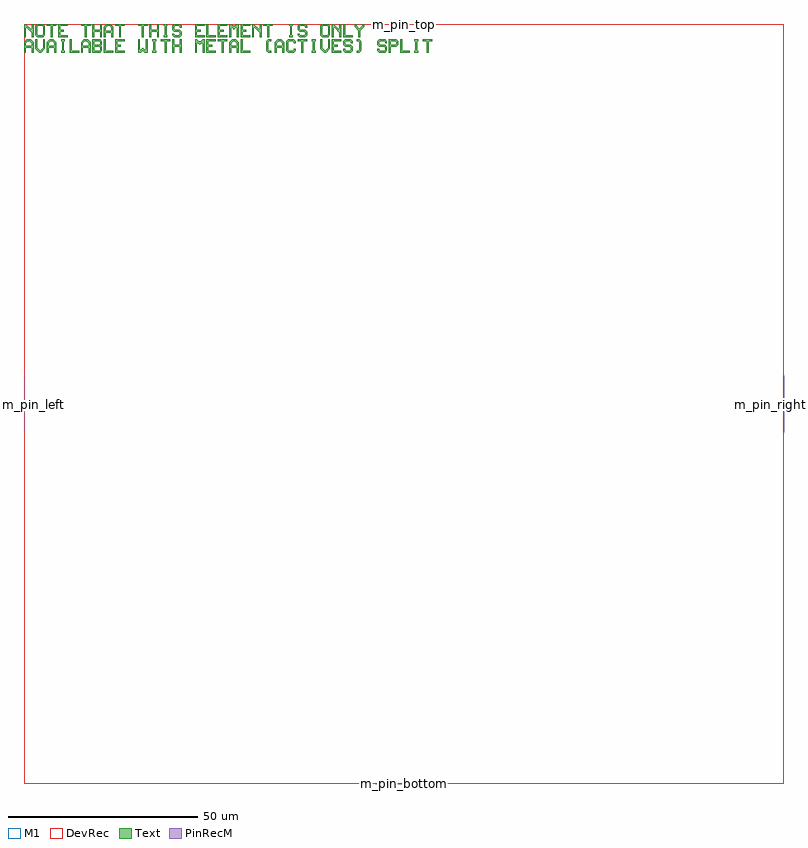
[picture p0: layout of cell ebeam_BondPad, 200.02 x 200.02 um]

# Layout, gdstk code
import gdstk
lib = gdstk.Library(unit=1e-6, precision=1e-09)
def R(c, l, rs):  # rectangles x0, y0, x1, y1
    for r in rs: c.add(gdstk.rectangle(r[:2], r[2:], *l))
def P(c, l, *ps):  # polygons
    for p in ps: c.add(gdstk.Polygon(p, *l))
PinRecM = (1, 11)
Text = (10, 0)
M1 = (11, 0)
DevRec = (68, 0)

ebeam_bondpad = lib.new_cell('ebeam_BondPad')
P(ebeam_bondpad, Text, [(-100,96.5),(-100,100),(-99.5,100),(-98.25,98.75),(-98,98.75),(-98,100),(-97.5,100),(-97.5,96.5),(-98,96.5),(-98,97.75),(-99.25,99),(-99.5,99),(-99.5,96.5)],
  [(-96.5,96.5),(-97,97),(-97,99.5),(-96.5,100),(-95,100),(-94.5,99.5),(-94.5,98.25),(-95,98.25),(-95,99.25),(-95.25,99.5),(-96.25,99.5),(-96.5,99.25),(-96.5,97.25),(-96.25,97),(-95.25,97),(-95,97.25),(-95,98.25),(-94.5,98.25),(-94.5,97),(-95,96.5)],
  [(-93,96.5),(-93,99.5),(-94,99.5),(-94,100),(-91.5,100),(-91.5,99.5),(-92.5,99.5),(-92.5,96.5)],
  [(-91,96.5),(-91,100),(-88.5,100),(-88.5,99.5),(-90.5,99.5),(-90.5,98.5),(-89.5,98.5),(-89.5,98),(-90.5,98),(-90.5,97),(-88.5,97),(-88.5,96.5)],
  [(-84,96.5),(-84,99.5),(-85,99.5),(-85,100),(-82.5,100),(-82.5,99.5),(-83.5,99.5),(-83.5,96.5)],
  [(-82,96.5),(-82,100),(-81.5,100),(-81.5,98.5),(-80,98.5),(-80,100),(-79.5,100),(-79.5,96.5),(-80,96.5),(-80,98),(-81.5,98),(-81.5,96.5)],
  [(-79,96.5),(-79,99.25),(-78.25,100),(-77.25,100),(-76.75,99.5),(-78,99.5),(-78.5,99),(-78.5,98.25),(-77,98.25),(-77,99),(-77.5,99.5),(-76.75,99.5),(-76.5,99.25),(-76.5,96.5),(-77,96.5),(-77,97.75),(-78.5,97.75),(-78.5,96.5)],
  [(-75,96.5),(-75,99.5),(-76,99.5),(-76,100),(-73.5,100),(-73.5,99.5),(-74.5,99.5),(-74.5,96.5)],
  [(-69,96.5),(-69,99.5),(-70,99.5),(-70,100),(-67.5,100),(-67.5,99.5),(-68.5,99.5),(-68.5,96.5)],
  [(-67,96.5),(-67,100),(-66.5,100),(-66.5,98.5),(-65,98.5),(-65,100),(-64.5,100),(-64.5,96.5),(-65,96.5),(-65,98),(-66.5,98),(-66.5,96.5)],
  [(-63.25,96.5),(-63.25,97),(-63,97),(-63,99.5),(-63.25,99.5),(-63.25,100),(-62.25,100),(-62.25,99.5),(-62.5,99.5),(-62.5,97),(-62.25,97),(-62.25,96.5)],
  [(-60.5,96.5),(-61,97),(-61,97.5),(-60.5,97.5),(-60.5,97.25),(-60.25,97),(-59.25,97),(-59,97.25),(-59,97.75),(-59.25,98),(-60.5,98),(-61,98.5),(-61,99.5),(-60.5,100),(-59,100),(-58.5,99.5),(-58.5,99),(-59,99),(-59,99.25),(-59.25,99.5),(-60.25,99.5),(-60.5,99.25),(-60.5,98.75),(-60.25,98.5),(-59,98.5),(-58.5,98),(-58.5,97),(-59,96.5)],
  [(-55,96.5),(-55,100),(-52.5,100),(-52.5,99.5),(-54.5,99.5),(-54.5,98.5),(-53.5,98.5),(-53.5,98),(-54.5,98),(-54.5,97),(-52.5,97),(-52.5,96.5)],
  [(-52,96.5),(-52,100),(-51.5,100),(-51.5,97),(-49.5,97),(-49.5,96.5)],
  [(-49,96.5),(-49,100),(-46.5,100),(-46.5,99.5),(-48.5,99.5),(-48.5,98.5),(-47.5,98.5),(-47.5,98),(-48.5,98),(-48.5,97),(-46.5,97),(-46.5,96.5)],
  [(-46,96.5),(-46,100),(-45.5,100),(-45,99.5),(-44.5,99.5),(-44,100),(-43.5,100),(-43.5,96.5),(-44,96.5),(-44,99),(-44.25,99),(-44.75,98.5),(-45.25,99),(-45.5,99),(-45.5,96.5)],
  [(-43,96.5),(-43,100),(-40.5,100),(-40.5,99.5),(-42.5,99.5),(-42.5,98.5),(-41.5,98.5),(-41.5,98),(-42.5,98),(-42.5,97),(-40.5,97),(-40.5,96.5)],
  [(-40,96.5),(-40,100),(-39.5,100),(-38.25,98.75),(-38,98.75),(-38,100),(-37.5,100),(-37.5,96.5),(-38,96.5),(-38,97.75),(-39.25,99),(-39.5,99),(-39.5,96.5)],
  [(-36,96.5),(-36,99.5),(-37,99.5),(-37,100),(-34.5,100),(-34.5,99.5),(-35.5,99.5),(-35.5,96.5)],
  [(-30.25,96.5),(-30.25,97),(-30,97),(-30,99.5),(-30.25,99.5),(-30.25,100),(-29.25,100),(-29.25,99.5),(-29.5,99.5),(-29.5,97),(-29.25,97),(-29.25,96.5)],
  [(-27.5,96.5),(-28,97),(-28,97.5),(-27.5,97.5),(-27.5,97.25),(-27.25,97),(-26.25,97),(-26,97.25),(-26,97.75),(-26.25,98),(-27.5,98),(-28,98.5),(-28,99.5),(-27.5,100),(-26,100),(-25.5,99.5),(-25.5,99),(-26,99),(-26,99.25),(-26.25,99.5),(-27.25,99.5),(-27.5,99.25),(-27.5,98.75),(-27.25,98.5),(-26,98.5),(-25.5,98),(-25.5,97),(-26,96.5)],
  [(-21.5,96.5),(-22,97),(-22,99.5),(-21.5,100),(-20,100),(-19.5,99.5),(-19.5,98.25),(-20,98.25),(-20,99.25),(-20.25,99.5),(-21.25,99.5),(-21.5,99.25),(-21.5,97.25),(-21.25,97),(-20.25,97),(-20,97.25),(-20,98.25),(-19.5,98.25),(-19.5,97),(-20,96.5)],
  [(-19,96.5),(-19,100),(-18.5,100),(-17.25,98.75),(-17,98.75),(-17,100),(-16.5,100),(-16.5,96.5),(-17,96.5),(-17,97.75),(-18.25,99),(-18.5,99),(-18.5,96.5)],
  [(-16,96.5),(-16,100),(-15.5,100),(-15.5,97),(-13.5,97),(-13.5,96.5)],
  [(-12,96.5),(-12,98.25),(-13,99.25),(-13,100),(-12.5,100),(-12.5,99.5),(-11.75,98.75),(-11,99.5),(-11,100),(-10.5,100),(-10.5,99.25),(-11.5,98.25),(-11.5,96.5)],
  [(-100,92.5),(-100,95.25),(-99.25,96),(-98.25,96),(-97.75,95.5),(-99,95.5),(-99.5,95),(-99.5,94.25),(-98,94.25),(-98,95),(-98.5,95.5),(-97.75,95.5),(-97.5,95.25),(-97.5,92.5),(-98,92.5),(-98,93.75),(-99.5,93.75),(-99.5,92.5)],
  [(-96,92.5),(-97,93.5),(-97,96),(-96.5,96),(-96.5,93.75),(-95.75,93),(-95,93.75),(-95,96),(-94.5,96),(-94.5,93.5),(-95.5,92.5)],
  [(-94,92.5),(-94,95.25),(-93.25,96),(-92.25,96),(-91.75,95.5),(-93,95.5),(-93.5,95),(-93.5,94.25),(-92,94.25),(-92,95),(-92.5,95.5),(-91.75,95.5),(-91.5,95.25),(-91.5,92.5),(-92,92.5),(-92,93.75),(-93.5,93.75),(-93.5,92.5)],
  [(-90.25,92.5),(-90.25,93),(-90,93),(-90,95.5),(-90.25,95.5),(-90.25,96),(-89.25,96),(-89.25,95.5),(-89.5,95.5),(-89.5,93),(-89.25,93),(-89.25,92.5)],
  [(-88,92.5),(-88,96),(-87.5,96),(-87.5,93),(-85.5,93),(-85.5,92.5)],
  [(-85,92.5),(-85,95.25),(-84.25,96),(-83.25,96),(-82.75,95.5),(-84,95.5),(-84.5,95),(-84.5,94.25),(-83,94.25),(-83,95),(-83.5,95.5),(-82.75,95.5),(-82.5,95.25),(-82.5,92.5),(-83,92.5),(-83,93.75),(-84.5,93.75),(-84.5,92.5)],
  [(-82,92.5),(-82,96),(-80,96),(-79.5,95.5),(-81.5,95.5),(-81.5,94.5),(-80.25,94.5),(-80,94.75),(-80,95.25),(-80.25,95.5),(-79.5,95.5),(-79.5,94.5),(-79.75,94.25),(-79.5,94),(-81.5,94),(-81.5,93),(-80.25,93),(-80,93.25),(-80,93.75),(-80.25,94),(-79.5,94),(-79.5,93),(-80,92.5)],
  [(-79,92.5),(-79,96),(-78.5,96),(-78.5,93),(-76.5,93),(-76.5,92.5)],
  [(-76,92.5),(-76,96),(-73.5,96),(-73.5,95.5),(-75.5,95.5),(-75.5,94.5),(-74.5,94.5),(-74.5,94),(-75.5,94),(-75.5,93),(-73.5,93),(-73.5,92.5)],
  [(-70,92.5),(-70,96),(-69.5,96),(-69.5,93.25),(-69.25,93.25),(-68.75,93.75),(-68.25,93.25),(-68,93.25),(-68,96),(-67.5,96),(-67.5,92.5),(-68.25,92.5),(-68.75,93),(-69.25,92.5)],
  [(-66.25,92.5),(-66.25,93),(-66,93),(-66,95.5),(-66.25,95.5),(-66.25,96),(-65.25,96),(-65.25,95.5),(-65.5,95.5),(-65.5,93),(-65.25,93),(-65.25,92.5)],
  [(-63,92.5),(-63,95.5),(-64,95.5),(-64,96),(-61.5,96),(-61.5,95.5),(-62.5,95.5),(-62.5,92.5)],
  [(-61,92.5),(-61,96),(-60.5,96),(-60.5,94.5),(-59,94.5),(-59,96),(-58.5,96),(-58.5,92.5),(-59,92.5),(-59,94),(-60.5,94),(-60.5,92.5)],
  [(-55,92.5),(-55,96),(-54.5,96),(-54,95.5),(-53.5,95.5),(-53,96),(-52.5,96),(-52.5,92.5),(-53,92.5),(-53,95),(-53.25,95),(-53.75,94.5),(-54.25,95),(-54.5,95),(-54.5,92.5)],
  [(-52,92.5),(-52,96),(-49.5,96),(-49.5,95.5),(-51.5,95.5),(-51.5,94.5),(-50.5,94.5),(-50.5,94),(-51.5,94),(-51.5,93),(-49.5,93),(-49.5,92.5)],
  [(-48,92.5),(-48,95.5),(-49,95.5),(-49,96),(-46.5,96),(-46.5,95.5),(-47.5,95.5),(-47.5,92.5)],
  [(-46,92.5),(-46,95.25),(-45.25,96),(-44.25,96),(-43.75,95.5),(-45,95.5),(-45.5,95),(-45.5,94.25),(-44,94.25),(-44,95),(-44.5,95.5),(-43.75,95.5),(-43.5,95.25),(-43.5,92.5),(-44,92.5),(-44,93.75),(-45.5,93.75),(-45.5,92.5)],
  [(-43,92.5),(-43,96),(-42.5,96),(-42.5,93),(-40.5,93),(-40.5,92.5)],
  [(-35.75,92.5),(-36.25,93),(-36.25,95.5),(-35.75,96),(-35,96),(-35,95.5),(-35.5,95.5),(-35.75,95.25),(-35.75,93.25),(-35.5,93),(-35,93),(-35,92.5)],
  [(-34,92.5),(-34,95.25),(-33.25,96),(-32.25,96),(-31.75,95.5),(-33,95.5),(-33.5,95),(-33.5,94.25),(-32,94.25),(-32,95),(-32.5,95.5),(-31.75,95.5),(-31.5,95.25),(-31.5,92.5),(-32,92.5),(-32,93.75),(-33.5,93.75),(-33.5,92.5)],
  [(-30.5,92.5),(-31,93),(-31,95.5),(-30.5,96),(-29,96),(-28.5,95.5),(-28.5,95),(-29,95),(-29,95.25),(-29.25,95.5),(-30.25,95.5),(-30.5,95.25),(-30.5,93.25),(-30.25,93),(-29.25,93),(-29,93.25),(-29,93.5),(-28.5,93.5),(-28.5,93),(-29,92.5)],
  [(-27,92.5),(-27,95.5),(-28,95.5),(-28,96),(-25.5,96),(-25.5,95.5),(-26.5,95.5),(-26.5,92.5)],
  [(-24.25,92.5),(-24.25,93),(-24,93),(-24,95.5),(-24.25,95.5),(-24.25,96),(-23.25,96),(-23.25,95.5),(-23.5,95.5),(-23.5,93),(-23.25,93),(-23.25,92.5)],
  [(-21,92.5),(-22,93.5),(-22,96),(-21.5,96),(-21.5,93.75),(-20.75,93),(-20,93.75),(-20,96),(-19.5,96),(-19.5,93.5),(-20.5,92.5)],
  [(-19,92.5),(-19,96),(-16.5,96),(-16.5,95.5),(-18.5,95.5),(-18.5,94.5),(-17.5,94.5),(-17.5,94),(-18.5,94),(-18.5,93),(-16.5,93),(-16.5,92.5)],
  [(-15.5,92.5),(-16,93),(-16,93.5),(-15.5,93.5),(-15.5,93.25),(-15.25,93),(-14.25,93),(-14,93.25),(-14,93.75),(-14.25,94),(-15.5,94),(-16,94.5),(-16,95.5),(-15.5,96),(-14,96),(-13.5,95.5),(-13.5,95),(-14,95),(-14,95.25),(-14.25,95.5),(-15.25,95.5),(-15.5,95.25),(-15.5,94.75),(-15.25,94.5),(-14,94.5),(-13.5,94),(-13.5,93),(-14,92.5)],
  [(-12.5,92.5),(-12.5,93),(-12,93),(-11.75,93.25),(-11.75,95.25),(-12,95.5),(-12.5,95.5),(-12.5,96),(-11.75,96),(-11.25,95.5),(-11.25,93),(-11.75,92.5)],
  [(-6.5,92.5),(-7,93),(-7,93.5),(-6.5,93.5),(-6.5,93.25),(-6.25,93),(-5.25,93),(-5,93.25),(-5,93.75),(-5.25,94),(-6.5,94),(-7,94.5),(-7,95.5),(-6.5,96),(-5,96),(-4.5,95.5),(-4.5,95),(-5,95),(-5,95.25),(-5.25,95.5),(-6.25,95.5),(-6.5,95.25),(-6.5,94.75),(-6.25,94.5),(-5,94.5),(-4.5,94),(-4.5,93),(-5,92.5)],
  [(-4,92.5),(-4,96),(-2,96),(-1.5,95.5),(-1.5,94.5),(-2,94),(-3.5,94),(-3.5,94.5),(-2.25,94.5),(-2,94.75),(-2,95.25),(-2.25,95.5),(-3.5,95.5),(-3.5,92.5)],
  [(-1,92.5),(-1,96),(-0.5,96),(-0.5,93),(1.5,93),(1.5,92.5)],
  [(2.75,92.5),(2.75,93),(3,93),(3,95.5),(2.75,95.5),(2.75,96),(3.75,96),(3.75,95.5),(3.5,95.5),(3.5,93),(3.75,93),(3.75,92.5)],
  [(6,92.5),(6,95.5),(5,95.5),(5,96),(7.5,96),(7.5,95.5),(6.5,95.5),(6.5,92.5)])
R(ebeam_bondpad, M1, [(-100,-100,100,100)])
R(ebeam_bondpad, DevRec, [(-100,-100,100,100)])
ebeam_bondpad.add(gdstk.FlexPath([(0,-99.99),(0,-100.01)], 15, ends="flush", simple_path=True, layer=1, datatype=11))  # PinRecM
ebeam_bondpad.add(gdstk.FlexPath([(99.99,0),(100.01,0)], 15, ends="flush", simple_path=True, layer=1, datatype=11))  # PinRecM
ebeam_bondpad.add(gdstk.FlexPath([(0,99.99),(0,100.01)], 15, ends="flush", simple_path=True, layer=1, datatype=11))  # PinRecM
ebeam_bondpad.add(gdstk.FlexPath([(-99.99,0),(-100.01,0)], 15, ends="flush", simple_path=True, layer=1, datatype=11))  # PinRecM
ebeam_bondpad.add(gdstk.Label('m_pin_bottom', (0,-100), layer=1, texttype=11))
ebeam_bondpad.add(gdstk.Label('m_pin_right', (100,0), layer=1, texttype=11))
ebeam_bondpad.add(gdstk.Label('m_pin_top', (0,100), layer=1, texttype=11))
ebeam_bondpad.add(gdstk.Label('m_pin_left', (-100,0), layer=1, texttype=11))

lib.write_gds('ebeam_BondPad.gds')
